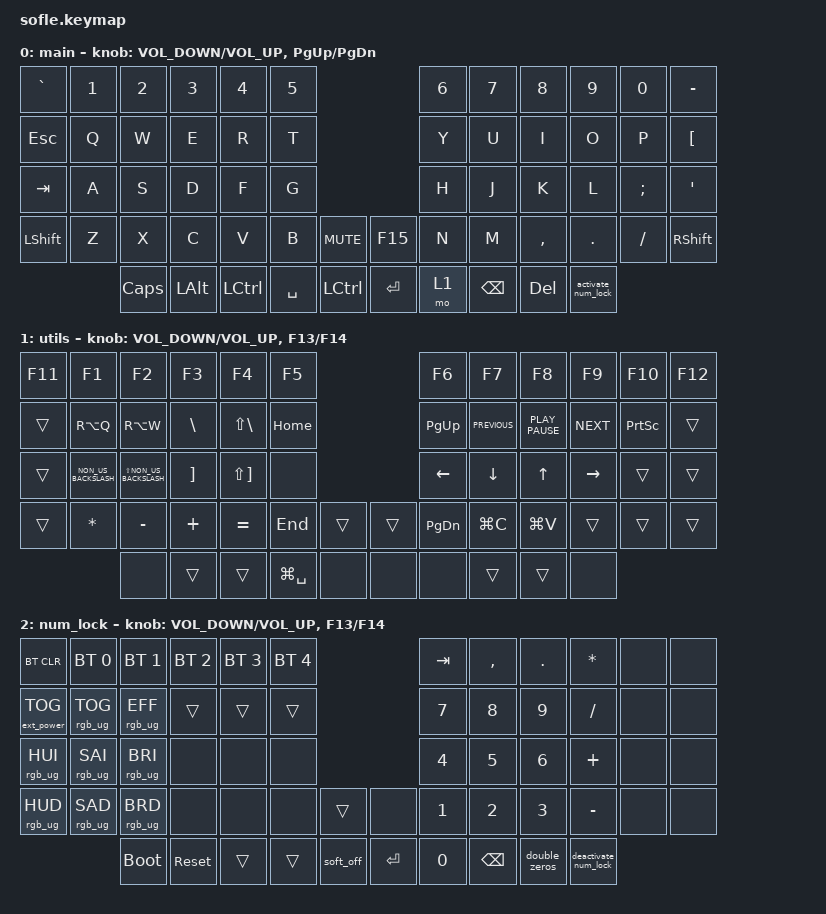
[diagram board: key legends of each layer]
/*
 * Copyright (c) 2020 The ZMK Contributors
 *
 * SPDX-License-Identifier: MIT
 */

#include <behaviors.dtsi>
#include <dt-bindings/zmk/bt.h>
#include <dt-bindings/zmk/ext_power.h>
#include <dt-bindings/zmk/keys.h>
#include <dt-bindings/zmk/rgb.h>

#define BASE 0
#define LOWER 1
#define RAISE 2
#define ADJUST 3

&led_strip { chain-length = <30>; };

/ {
    // Activate ADJUST layer by pressing raise and lower

    conditional_layers { compatible = "zmk,conditional-layers"; };

    macros {
        double_zeros: double_zeros {
            compatible = "zmk,behavior-macro";
            #binding-cells = <0>;
            bindings = <&kp N0 &kp N0>;
            label = "DOUBLE_ZEROS";
        };

        deactivate_caps_lock: deactivate_caps_lock {
            compatible = "zmk,behavior-macro";
            #binding-cells = <0>;
            bindings = <&to 0 &rgb_ug RGB_COLOR_HSB(221,0,100) &kp CAPSLOCK>;
            label = "DEACTIVATE_CAPS_LOCK";
        };

        activate_caps_lock: activate_caps_lock {
            compatible = "zmk,behavior-macro";
            #binding-cells = <0>;
            bindings = <&to 0 &rgb_ug RGB_COLOR_HSB(208,100,50) &kp CAPSLOCK>;
            label = "ACTIVATE_CAPS_LOCK";
        };

        activate_num_lock: activate_num_lock {
            compatible = "zmk,behavior-macro";
            #binding-cells = <0>;
            bindings = <&to 2 &rgb_ug RGB_COLOR_HSB(28,100,50)>;
            label = "ACTIVATE_NUM_LOCK";
        };

        deactivate_num_lock: deactivate_num_lock {
            compatible = "zmk,behavior-macro";
            #binding-cells = <0>;
            bindings = <&to 0 &rgb_ug RGB_COLOR_HSB(0,0,100)>;
            label = "DEACTIVATE_NUM_LOCK";
        };
    };

    combos { compatible = "zmk,combos"; };

    keymap {
        compatible = "zmk,keymap";

        main_layer {
            display-name = "main";

            // ------------------------------------------------------------------------------------------------------------
            // |   `   |  1  |  2  |  3   |  4   |  5   |                   |  6   |  7    |  8    |  9   |   0   |       |
            // |  ESC  |  Q  |  W  |  E   |  R   |  T   |                   |  Y   |  U    |  I    |  O   |   P   | BKSPC |
            // |  TAB  |  A  |  S  |  D   |  F   |  G   |                   |  H   |  J    |  K    |  L   |   ;   |   '   |
            // | SHIFT |  Z  |  X  |  C   |  V   |  B   |  MUTE  |  |       |  N   |  M    |  ,    |  .   |   /   | SHIFT |
            //               | GUI | ALT  | CTRL | LOWER|  ENTER |  | SPACE | RAISE| CTRL  | ALT   | GUI  |

            bindings = <
&kp GRAVE  &kp N1  &kp N2        &kp N3        &kp N4     &kp N5                                    &kp N6  &kp N7         &kp N8      &kp N9              &kp N0         &kp MINUS
&kp ESC    &kp Q   &kp W         &kp E         &kp R      &kp T                                     &kp Y   &kp U          &kp I       &kp O               &kp P          &kp LEFT_BRACKET
&kp TAB    &kp A   &kp S         &kp D         &kp F      &kp G                                     &kp H   &kp J          &kp K       &kp L               &kp SEMICOLON  &kp SQT
&kp LSHFT  &kp Z   &kp X         &kp C         &kp V      &kp B      &kp C_MUTE          &kp F15    &kp N   &kp M          &kp COMMA   &kp DOT             &kp SLASH      &kp RIGHT_SHIFT
                   &kp CAPSLOCK  &kp LEFT_ALT  &kp LCTRL  &kp SPACE  &kp LEFT_CONTROL    &kp ENTER  &mo 1   &kp BACKSPACE  &kp DELETE  &activate_num_lock
            >;

            sensor-bindings =
                <&inc_dec_kp C_VOLUME_DOWN C_VOLUME_UP>,
                <&inc_dec_kp PG_UP PAGE_DOWN>;
        };

        utils_layer {
            display-name = "utils";

            // TODO: Some binds are waiting for shifted keycode support.
            // ------------------------------------------------------------------------------------------------------------
            // |       |  F1 |  F2 |  F3  |  F4  |  F5  |                   |  F6  |  F7   |  F8   |  F9  |  F10  |  F11  |
            // |   `   |  1  |  2  |  3   |  4   |  5   |                   |  6   |  7    |  8    |  9   |   0   |  F12  |
            // |       |  !  |  @  |  #   |  $   |  %   |                   |  ^   |  &    |  *    |  (   |   )   |   |   |
            // |       |  =  |  -  |  +   |  {   |  }   |        |  |       |  [   |  ]    |  ;    |  :   |   \   |       |
            //               |     |      |      |      |        |  |       |      |       |       |      |

            bindings = <
&kp F11  &kp F1                &kp F2                    &kp F3             &kp F4                 &kp F5                           &kp F6          &kp F7          &kp F8            &kp F9           &kp F10          &kp F12
&trans   &kp RA(Q)             &kp RA(W)                 &kp BACKSLASH      &kp LS(BACKSLASH)      &kp HOME                         &kp PG_UP       &kp K_PREVIOUS  &kp K_PLAY_PAUSE  &kp K_NEXT       &kp PRINTSCREEN  &trans
&trans   &kp NON_US_BACKSLASH  &kp LS(NON_US_BACKSLASH)  &kp RIGHT_BRACKET  &kp LS(RIGHT_BRACKET)  &none                            &kp LEFT_ARROW  &kp DOWN_ARROW  &kp UP_ARROW      &kp RIGHT_ARROW  &trans           &trans
&trans   &kp ASTRK             &kp MINUS                 &kp PLUS           &kp EQUAL              &kp END        &trans    &trans  &kp PAGE_DOWN   &kp LG(C)       &kp LG(V)         &trans           &trans           &trans
                               &none                     &trans             &trans                 &kp LG(SPACE)  &none     &none   &none           &trans          &trans            &none
            >;

            sensor-bindings =
                <&inc_dec_kp C_VOLUME_DOWN C_VOLUME_UP>,
                <&inc_dec_kp F13 F14>;
        };

        num_lock_layer {
            // ----------------------------------------------------------------------------------------------------------------------------
            // | BTCLR  |  BT1    |  BT2    |   BT3   |   BT4   |   BT5   |                  |      |      |       |      |       |       |
            // | EXTPWR | RGB_HUD | RGB_HUI | RGB_SAD | RGB_SAI | RGB_EFF |                  |      |      |       |      |       |       |
            // |        | RGB_BRD | RGB_BRI |         |         |         |                  |      |      |       |      |       |       |
            // |        |         |         |         |         |         | RGB_TOG | |      |      |      |       |      |       |       |
            //                    |         |         |         |         |         | |      |      |      |       |      |

            display-name = "num_lock";
            bindings = <
&bt BT_CLR         &bt BT_SEL 0     &bt BT_SEL 1     &bt BT_SEL 2  &bt BT_SEL 3  &bt BT_SEL 4                          &kp TAB       &kp COMMA      &kp PERIOD     &kp ASTERISK          &none  &none
&ext_power EP_TOG  &rgb_ug RGB_TOG  &rgb_ug RGB_EFF  &trans        &trans        &trans                                &kp NUMBER_7  &kp NUMBER_8   &kp NUMBER_9   &kp SLASH             &none  &none
&rgb_ug RGB_HUI    &rgb_ug RGB_SAI  &rgb_ug RGB_BRI  &none         &none         &none                                 &kp NUMBER_4  &kp NUMBER_5   &kp NUMBER_6   &kp PLUS              &none  &none
&rgb_ug RGB_HUD    &rgb_ug RGB_SAD  &rgb_ug RGB_BRD  &none         &none         &none         &trans       &none      &kp NUMBER_1  &kp NUMBER_2   &kp NUMBER_3   &kp MINUS             &none  &none
                                    &bootloader      &sys_reset    &trans        &trans        &soft_off    &kp ENTER  &kp NUMBER_0  &kp BACKSPACE  &double_zeros  &deactivate_num_lock
            >;

            sensor-bindings =
                <&inc_dec_kp C_VOLUME_DOWN C_VOLUME_UP>,
                <&inc_dec_kp F13 F14>;
        };
    };
};
